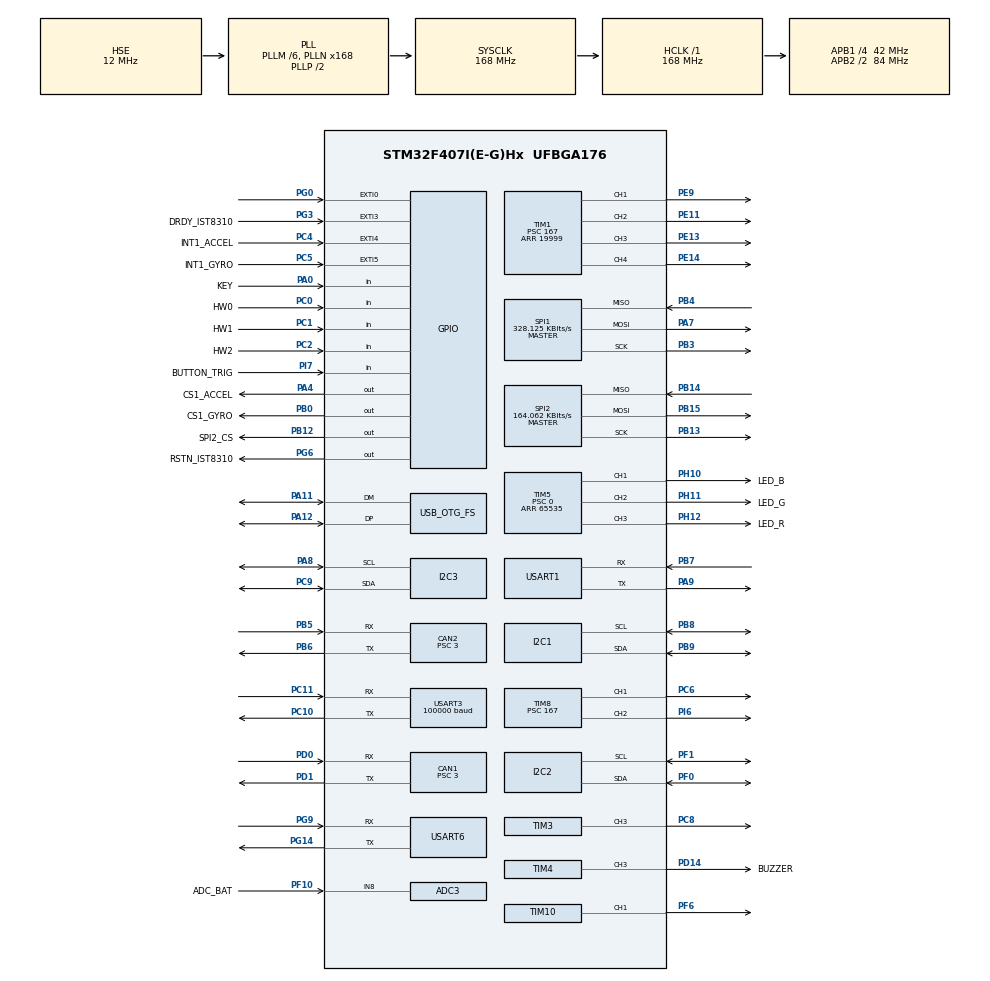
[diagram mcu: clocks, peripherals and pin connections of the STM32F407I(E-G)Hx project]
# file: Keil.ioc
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ADC1.Channel-0\#ChannelRegularConversion=ADC_CHANNEL_TEMPSENSOR
ADC1.ClockPrescaler=ADC_CLOCK_SYNC_PCLK_DIV6
ADC1.NbrOfConversionFlag=1
ADC1.Rank-0\#ChannelRegularConversion=1
ADC1.SamplingTime-0\#ChannelRegularConversion=ADC_SAMPLETIME_3CYCLES
ADC1.master=1
ADC3.Channel-0\#ChannelRegularConversion=ADC_CHANNEL_8
ADC3.ClockPrescaler=ADC_CLOCK_SYNC_PCLK_DIV6
ADC3.NbrOfConversionFlag=1
ADC3.Rank-0\#ChannelRegularConversion=1
ADC3.SamplingTime-0\#ChannelRegularConversion=ADC_SAMPLETIME_3CYCLES
CAN1.BS1=CAN_BS1_10TQ
CAN1.BS2=CAN_BS2_3TQ
CAN1.CalculateTimeQuantum=71.42857142857143
CAN1.Prescaler=3
CAN2.BS1=CAN_BS1_10TQ
CAN2.BS2=CAN_BS2_3TQ
CAN2.CalculateTimeQuantum=71.42857142857143
CAN2.Prescaler=3
Dma.I2C2_TX.2.Direction=DMA_MEMORY_TO_PERIPH
Dma.I2C2_TX.2.FIFOMode=DMA_FIFOMODE_DISABLE
Dma.I2C2_TX.2.Instance=DMA1_Stream7
Dma.I2C2_TX.2.MemDataAlignment=DMA_MDATAALIGN_BYTE
Dma.I2C2_TX.2.MemInc=DMA_MINC_ENABLE
Dma.I2C2_TX.2.Mode=DMA_NORMAL
Dma.I2C2_TX.2.PeriphDataAlignment=DMA_PDATAALIGN_BYTE
Dma.I2C2_TX.2.PeriphInc=DMA_PINC_DISABLE
Dma.I2C2_TX.2.Priority=DMA_PRIORITY_HIGH
Dma.Request0=SPI1_RX
Dma.Request1=SPI1_TX
Dma.Request2=I2C2_TX
Dma.Request3=USART3_RX
Dma.Request4=USART6_RX
Dma.Request5=USART6_TX
Dma.Request6=USART1_TX
Dma.Request7=USART1_RX
Dma.SPI1_RX.0.Direction=DMA_PERIPH_TO_MEMORY
Dma.SPI1_RX.0.FIFOMode=DMA_FIFOMODE_DISABLE
Dma.SPI1_RX.0.Instance=DMA2_Stream2
Dma.SPI1_RX.0.MemDataAlignment=DMA_MDATAALIGN_BYTE
Dma.SPI1_RX.0.MemInc=DMA_MINC_ENABLE
Dma.SPI1_RX.0.Mode=DMA_NORMAL
Dma.SPI1_RX.0.PeriphDataAlignment=DMA_PDATAALIGN_BYTE
Dma.SPI1_RX.0.PeriphInc=DMA_PINC_DISABLE
Dma.SPI1_RX.0.Priority=DMA_PRIORITY_VERY_HIGH
Dma.SPI1_TX.1.Direction=DMA_MEMORY_TO_PERIPH
Dma.SPI1_TX.1.FIFOMode=DMA_FIFOMODE_DISABLE
Dma.SPI1_TX.1.Instance=DMA2_Stream3
Dma.SPI1_TX.1.MemDataAlignment=DMA_MDATAALIGN_BYTE
Dma.SPI1_TX.1.MemInc=DMA_MINC_ENABLE
Dma.SPI1_TX.1.Mode=DMA_NORMAL
Dma.SPI1_TX.1.PeriphDataAlignment=DMA_PDATAALIGN_BYTE
Dma.SPI1_TX.1.PeriphInc=DMA_PINC_DISABLE
Dma.SPI1_TX.1.Priority=DMA_PRIORITY_HIGH
Dma.USART1_RX.7.Direction=DMA_PERIPH_TO_MEMORY
Dma.USART1_RX.7.FIFOMode=DMA_FIFOMODE_DISABLE
Dma.USART1_RX.7.Instance=DMA2_Stream5
Dma.USART1_RX.7.MemDataAlignment=DMA_MDATAALIGN_BYTE
Dma.USART1_RX.7.MemInc=DMA_MINC_ENABLE
Dma.USART1_RX.7.Mode=DMA_NORMAL
Dma.USART1_RX.7.PeriphDataAlignment=DMA_PDATAALIGN_BYTE
Dma.USART1_RX.7.PeriphInc=DMA_PINC_DISABLE
Dma.USART1_RX.7.Priority=DMA_PRIORITY_MEDIUM
Dma.USART1_TX.6.Direction=DMA_MEMORY_TO_PERIPH
Dma.USART1_TX.6.FIFOMode=DMA_FIFOMODE_DISABLE
Dma.USART1_TX.6.Instance=DMA2_Stream7
Dma.USART1_TX.6.MemDataAlignment=DMA_MDATAALIGN_BYTE
Dma.USART1_TX.6.MemInc=DMA_MINC_ENABLE
Dma.USART1_TX.6.Mode=DMA_NORMAL
Dma.USART1_TX.6.PeriphDataAlignment=DMA_PDATAALIGN_BYTE
Dma.USART1_TX.6.PeriphInc=DMA_PINC_DISABLE
Dma.USART1_TX.6.Priority=DMA_PRIORITY_MEDIUM
Dma.USART3_RX.3.Direction=DMA_PERIPH_TO_MEMORY
Dma.USART3_RX.3.FIFOMode=DMA_FIFOMODE_DISABLE
Dma.USART3_RX.3.Instance=DMA1_Stream1
Dma.USART3_RX.3.MemDataAlignment=DMA_MDATAALIGN_BYTE
Dma.USART3_RX.3.MemInc=DMA_MINC_ENABLE
Dma.USART3_RX.3.Mode=DMA_NORMAL
Dma.USART3_RX.3.PeriphDataAlignment=DMA_PDATAALIGN_BYTE
Dma.USART3_RX.3.PeriphInc=DMA_PINC_DISABLE
Dma.USART3_RX.3.Priority=DMA_PRIORITY_HIGH
Dma.USART6_RX.4.Direction=DMA_PERIPH_TO_MEMORY
Dma.USART6_RX.4.FIFOMode=DMA_FIFOMODE_DISABLE
Dma.USART6_RX.4.Instance=DMA2_Stream1
Dma.USART6_RX.4.MemDataAlignment=DMA_MDATAALIGN_BYTE
Dma.USART6_RX.4.MemInc=DMA_MINC_ENABLE
Dma.USART6_RX.4.Mode=DMA_NORMAL
Dma.USART6_RX.4.PeriphDataAlignment=DMA_PDATAALIGN_BYTE
Dma.USART6_RX.4.PeriphInc=DMA_PINC_DISABLE
Dma.USART6_RX.4.Priority=DMA_PRIORITY_HIGH
Dma.USART6_TX.5.Direction=DMA_MEMORY_TO_PERIPH
Dma.USART6_TX.5.FIFOMode=DMA_FIFOMODE_DISABLE
Dma.USART6_TX.5.Instance=DMA2_Stream6
Dma.USART6_TX.5.MemDataAlignment=DMA_MDATAALIGN_BYTE
Dma.USART6_TX.5.MemInc=DMA_MINC_ENABLE
Dma.USART6_TX.5.Mode=DMA_NORMAL
Dma.USART6_TX.5.PeriphDataAlignment=DMA_PDATAALIGN_BYTE
Dma.USART6_TX.5.PeriphInc=DMA_PINC_DISABLE
Dma.USART6_TX.5.Priority=DMA_PRIORITY_MEDIUM
FREERTOS.INCLUDE_eTaskGetState=1
FREERTOS.INCLUDE_pcTaskGetTaskName=1
FREERTOS.INCLUDE_uxTaskGetStackHighWaterMark=1
FREERTOS.INCLUDE_vTaskCleanUpResources=1
FREERTOS.INCLUDE_vTaskDelayUntil=1
FREERTOS.INCLUDE_xEventGroupSetBitFromISR=1
FREERTOS.INCLUDE_xQueueGetMutexHolder=1
FREERTOS.INCLUDE_xSemaphoreGetMutexHolder=1
FREERTOS.INCLUDE_xTaskAbortDelay=1
FREERTOS.INCLUDE_xTaskGetCurrentTaskHandle=1
FREERTOS.INCLUDE_xTaskGetHandle=1
FREERTOS.INCLUDE_xTimerPendFunctionCall=1
FREERTOS.Tasks01=test,24,128,test_task,As weak,NULL,Dynamic,NULL,NULL
FREERTOS.configTOTAL_HEAP_SIZE=24576
I2C1.I2C_Mode=I2C_Fast
I2C2.I2C_Mode=I2C_Fast
I2C3.I2C_Mode=I2C_Fast
Mcu.Family=STM32F4
Mcu.Name=STM32F407I(E-G)Hx
Mcu.Package=UFBGA176
NVIC.CAN1_RX0_IRQn=true\:6\:0\:true\:false\:true\:true\:true\:true
NVIC.CAN2_RX0_IRQn=true\:6\:0\:true\:false\:true\:true\:true\:true
NVIC.DMA1_Stream1_IRQn=true\:5\:0\:true\:false\:false\:true\:false\:false
NVIC.DMA1_Stream7_IRQn=true\:5\:0\:true\:false\:false\:true\:false\:true
NVIC.DMA2_Stream1_IRQn=true\:5\:0\:true\:false\:true\:true\:false\:true
NVIC.DMA2_Stream2_IRQn=true\:5\:0\:true\:false\:false\:true\:false\:true
NVIC.DMA2_Stream3_IRQn=true\:5\:0\:true\:false\:false\:true\:false\:true
NVIC.DMA2_Stream5_IRQn=true\:5\:0\:false\:false\:true\:true\:false\:true
NVIC.DMA2_Stream6_IRQn=true\:5\:0\:true\:false\:true\:true\:false\:true
NVIC.DMA2_Stream7_IRQn=true\:5\:0\:true\:false\:true\:true\:false\:true
NVIC.EXTI0_IRQn=true\:6\:0\:true\:false\:true\:true\:true\:true
NVIC.EXTI3_IRQn=true\:5\:0\:true\:false\:true\:true\:true\:true
NVIC.EXTI4_IRQn=true\:5\:0\:true\:false\:true\:true\:true\:true
NVIC.EXTI9_5_IRQn=true\:5\:0\:true\:false\:true\:true\:true\:true
NVIC.OTG_FS_IRQn=true\:5\:0\:false\:false\:true\:true\:false\:true
NVIC.PriorityGroup=NVIC_PRIORITYGROUP_4
NVIC.USART1_IRQn=true\:5\:0\:false\:false\:true\:true\:true\:true
NVIC.USART3_IRQn=true\:4\:0\:true\:false\:false\:false\:true\:true
NVIC.USART6_IRQn=true\:5\:0\:true\:false\:false\:true\:true\:true
PA0-WKUP.GPIO_Label=KEY
PA0-WKUP.GPIO_PuPd=GPIO_PULLUP
PA0-WKUP.Signal=GPIO_Input
PA11.Mode=Device_Only
PA11.Signal=USB_OTG_FS_DM
PA12.Mode=Device_Only
PA12.Signal=USB_OTG_FS_DP
PA13.Mode=Serial_Wire
PA13.Signal=SYS_JTMS-SWDIO
PA14.Mode=Serial_Wire
PA14.Signal=SYS_JTCK-SWCLK
PA4.GPIO_Label=CS1_ACCEL
PA4.GPIO_PuPd=GPIO_PULLUP
PA4.GPIO_Speed=GPIO_SPEED_FREQ_HIGH
PA4.PinState=GPIO_PIN_SET
PA4.Signal=GPIO_Output
PA7.GPIO_PuPd=GPIO_PULLUP
PA7.Mode=Full_Duplex_Master
PA7.Signal=SPI1_MOSI
PA8.Mode=I2C
PA8.Signal=I2C3_SCL
PA9.Mode=Asynchronous
PA9.Signal=USART1_TX
PB0.GPIO_Label=CS1_GYRO
PB0.GPIO_PuPd=GPIO_PULLUP
PB0.GPIO_Speed=GPIO_SPEED_FREQ_HIGH
PB0.PinState=GPIO_PIN_SET
PB0.Signal=GPIO_Output
PB12.GPIO_Label=SPI2_CS
PB12.GPIO_PuPd=GPIO_PULLUP
PB12.GPIO_Speed=GPIO_SPEED_FREQ_MEDIUM
PB12.PinState=GPIO_PIN_SET
PB12.Signal=GPIO_Output
PB13.GPIO_PuPd=GPIO_PULLUP
PB13.Mode=Full_Duplex_Master
PB13.Signal=SPI2_SCK
PB14.GPIO_PuPd=GPIO_PULLUP
PB14.Mode=Full_Duplex_Master
PB14.Signal=SPI2_MISO
PB15.GPIO_PuPd=GPIO_PULLUP
PB15.Mode=Full_Duplex_Master
PB15.Signal=SPI2_MOSI
PB3.GPIO_PuPd=GPIO_PULLUP
PB3.Mode=Full_Duplex_Master
PB3.Signal=SPI1_SCK
PB4.GPIO_PuPd=GPIO_PULLUP
PB4.Mode=Full_Duplex_Master
PB4.Signal=SPI1_MISO
PB5.Mode=Slave
PB5.Signal=CAN2_RX
PB6.Mode=Slave
PB6.Signal=CAN2_TX
PB7.Mode=Asynchronous
PB7.Signal=USART1_RX
PB8.Mode=I2C
PB8.Signal=I2C1_SCL
PB9.Mode=I2C
PB9.Signal=I2C1_SDA
PC0.GPIO_Label=HW0
PC0.Signal=GPIO_Input
PC1.GPIO_Label=HW1
PC1.Signal=GPIO_Input
PC10.Mode=Asynchronous
PC10.Signal=USART3_TX
PC11.Mode=Asynchronous
PC11.Signal=USART3_RX
PC2.GPIO_Label=HW2
PC2.Signal=GPIO_Input
PC4.GPIO_Label=INT1_ACCEL
PC4.GPIO_ModeDefaultEXTI=GPIO_MODE_IT_FALLING
PC4.GPIO_PuPd=GPIO_PULLUP
PC4.Signal=GPXTI4
PC5.GPIO_Label=INT1_GYRO
PC5.GPIO_ModeDefaultEXTI=GPIO_MODE_IT_FALLING
PC5.GPIO_PuPd=GPIO_PULLUP
PC5.Signal=GPXTI5
PC6.GPIO_PuPd=GPIO_PULLUP
PC6.GPIO_Speed=GPIO_SPEED_FREQ_HIGH
PC6.Signal=S_TIM8_CH1
PC8.GPIO_PuPd=GPIO_PULLUP
PC8.GPIO_Speed=GPIO_SPEED_FREQ_HIGH
PC8.Signal=S_TIM3_CH3
PC9.Mode=I2C
PC9.Signal=I2C3_SDA
PD0.Mode=Master
PD0.Signal=CAN1_RX
PD1.Mode=Master
PD1.Signal=CAN1_TX
PD14.GPIO_Label=BUZZER
PD14.GPIO_PuPd=GPIO_PULLUP
PD14.GPIO_Speed=GPIO_SPEED_FREQ_VERY_HIGH
PD14.Signal=S_TIM4_CH3
PE11.GPIO_PuPd=GPIO_PULLUP
PE11.GPIO_Speed=GPIO_SPEED_FREQ_HIGH
PE11.Signal=S_TIM1_CH2
PE13.GPIO_PuPd=GPIO_PULLUP
PE13.GPIO_Speed=GPIO_SPEED_FREQ_HIGH
PE13.Signal=S_TIM1_CH3
PE14.GPIO_PuPd=GPIO_PULLUP
PE14.GPIO_Speed=GPIO_SPEED_FREQ_HIGH
PE14.Signal=S_TIM1_CH4
PE9.GPIO_PuPd=GPIO_PULLUP
PE9.GPIO_Speed=GPIO_SPEED_FREQ_HIGH
PE9.Signal=S_TIM1_CH1
PF0.Mode=I2C
PF0.Signal=I2C2_SDA
PF1.Mode=I2C
PF1.Signal=I2C2_SCL
PF10.GPIO_Label=ADC_BAT
PF10.Mode=IN8
PF10.Signal=ADC3_IN8
PF6.GPIO_PuPd=GPIO_PULLUP
PF6.GPIO_Speed=GPIO_SPEED_FREQ_HIGH
PF6.Signal=S_TIM10_CH1
PG0.GPIO_ModeDefaultEXTI=GPIO_MODE_IT_FALLING
PG0.GPIO_PuPd=GPIO_PULLUP
PG0.Signal=GPXTI0
PG14.Mode=Asynchronous
PG14.Signal=USART6_TX
PG3.GPIO_Label=DRDY_IST8310
PG3.GPIO_ModeDefaultEXTI=GPIO_MODE_IT_FALLING
PG3.GPIO_PuPd=GPIO_PULLUP
PG3.Signal=GPXTI3
PG6.GPIO_Label=RSTN_IST8310
PG6.GPIO_PuPd=GPIO_PULLUP
PG6.GPIO_Speed=GPIO_SPEED_FREQ_MEDIUM
PG6.PinState=GPIO_PIN_SET
PG6.Signal=GPIO_Output
PG9.Mode=Asynchronous
PG9.Signal=USART6_RX
PH0-OSC_IN.Mode=HSE-External-Oscillator
PH0-OSC_IN.Signal=RCC_OSC_IN
PH1-OSC_OUT.Mode=HSE-External-Oscillator
PH1-OSC_OUT.Signal=RCC_OSC_OUT
PH10.GPIO_Label=LED_B
PH10.GPIO_PuPd=GPIO_PULLUP
PH10.GPIO_Speed=GPIO_SPEED_FREQ_HIGH
PH10.Signal=S_TIM5_CH1
PH11.GPIO_Label=LED_G
PH11.GPIO_PuPd=GPIO_PULLUP
PH11.GPIO_Speed=GPIO_SPEED_FREQ_HIGH
PH11.Signal=S_TIM5_CH2
PH12.GPIO_Label=LED_R
PH12.GPIO_PuPd=GPIO_PULLUP
PH12.GPIO_Speed=GPIO_SPEED_FREQ_HIGH
PH12.Signal=S_TIM5_CH3
PI6.GPIO_PuPd=GPIO_PULLUP
PI6.GPIO_Speed=GPIO_SPEED_FREQ_HIGH
PI6.Signal=S_TIM8_CH2
PI7.GPIO_Label=BUTTON_TRIG
PI7.GPIO_PuPd=GPIO_PULLUP
PI7.Signal=GPIO_Input
ProjectManager.HeapSize=0x2000
ProjectManager.StackSize=0x2000
ProjectManager.TargetToolchain=MDK-ARM V5
RCC.48MHZClocksFreq_Value=48000000
RCC.AHBFreq_Value=168000000
RCC.APB1CLKDivider=RCC_HCLK_DIV4
RCC.APB1Freq_Value=42000000
RCC.APB1TimFreq_Value=84000000
RCC.APB2CLKDivider=RCC_HCLK_DIV2
RCC.APB2Freq_Value=84000000
RCC.APB2TimFreq_Value=168000000
RCC.CortexFreq_Value=168000000
RCC.HCLKFreq_Value=168000000
RCC.HSE_VALUE=12000000
RCC.HSI_VALUE=16000000
RCC.LSE_VALUE=32768
RCC.PLLM=6
RCC.PLLN=168
RCC.PLLQ=7
RCC.RCC_RTC_Clock_SourceVirtual=RCC_RTCCLKSOURCE_HSE_DIV30
RCC.RCC_RTC_Clock_Source_FROM_HSE=RCC_RTCCLKSOURCE_HSE_DIV30
RCC.SYSCLKFreq_VALUE=168000000
RCC.SYSCLKSource=RCC_SYSCLKSOURCE_PLLCLK
RCC.VCOOutputFreq_Value=336000000
RTC.AsynchPrediv=124
RTC.SynchPrediv=3199
SH.S_TIM10_CH1.0=TIM10_CH1,PWM Generation1 CH1
SH.S_TIM1_CH1.0=TIM1_CH1,PWM Generation1 CH1
SH.S_TIM1_CH2.0=TIM1_CH2,PWM Generation2 CH2
SH.S_TIM1_CH3.0=TIM1_CH3,PWM Generation3 CH3
SH.S_TIM1_CH4.0=TIM1_CH4,PWM Generation4 CH4
SH.S_TIM3_CH3.0=TIM3_CH3,PWM Generation3 CH3
SH.S_TIM4_CH3.0=TIM4_CH3,PWM Generation3 CH3
SH.S_TIM5_CH1.0=TIM5_CH1,PWM Generation1 CH1
SH.S_TIM5_CH2.0=TIM5_CH2,PWM Generation2 CH2
SH.S_TIM5_CH3.0=TIM5_CH3,PWM Generation3 CH3
SH.S_TIM8_CH1.0=TIM8_CH1,PWM Generation1 CH1
SH.S_TIM8_CH2.0=TIM8_CH2,PWM Generation2 CH2
SPI1.BaudRatePrescaler=SPI_BAUDRATEPRESCALER_256
SPI1.CLKPhase=SPI_PHASE_2EDGE
SPI1.CLKPolarity=SPI_POLARITY_HIGH
SPI1.CalculateBaudRate=328.125 KBits/s
SPI1.Direction=SPI_DIRECTION_2LINES
SPI1.Mode=SPI_MODE_MASTER
SPI1.VirtualType=VM_MASTER
SPI2.BaudRatePrescaler=SPI_BAUDRATEPRESCALER_256
SPI2.CLKPhase=SPI_PHASE_2EDGE
SPI2.CLKPolarity=SPI_POLARITY_HIGH
SPI2.CalculateBaudRate=164.062 KBits/s
SPI2.Direction=SPI_DIRECTION_2LINES
SPI2.Mode=SPI_MODE_MASTER
SPI2.VirtualType=VM_MASTER
TIM1.AutoReloadPreload=TIM_AUTORELOAD_PRELOAD_ENABLE
TIM1.Channel-PWM\ Generation1\ CH1=TIM_CHANNEL_1
TIM1.Channel-PWM\ Generation2\ CH2=TIM_CHANNEL_2
TIM1.Channel-PWM\ Generation3\ CH3=TIM_CHANNEL_3
TIM1.Channel-PWM\ Generation4\ CH4=TIM_CHANNEL_4
TIM1.Period=19999
TIM1.Prescaler=167
TIM1.Pulse-PWM\ Generation1\ CH1=1000
TIM1.Pulse-PWM\ Generation2\ CH2=1000
TIM1.Pulse-PWM\ Generation3\ CH3=1000
TIM1.Pulse-PWM\ Generation4\ CH4=1000
TIM10.Channel=TIM_CHANNEL_1
TIM10.Period=4999
TIM3.Channel-PWM\ Generation3\ CH3=TIM_CHANNEL_3
TIM3.Period=8399
TIM4.Channel-PWM\ Generation3\ CH3=TIM_CHANNEL_3
TIM4.Period=65535
TIM4.Prescaler=167
TIM5.Channel-PWM\ Generation1\ CH1=TIM_CHANNEL_1
TIM5.Channel-PWM\ Generation2\ CH2=TIM_CHANNEL_2
TIM5.Channel-PWM\ Generation3\ CH3=TIM_CHANNEL_3
TIM5.Period=65535
TIM5.Prescaler=0
TIM8.Channel-PWM\ Generation1\ CH1=TIM_CHANNEL_1
TIM8.Channel-PWM\ Generation2\ CH2=TIM_CHANNEL_2
TIM8.Period=19999
TIM8.Prescaler=167
TIM8.Pulse-PWM\ Generation1\ CH1=1000
TIM8.Pulse-PWM\ Generation2\ CH2=1000
USART1.VirtualMode=VM_ASYNC
USART3.BaudRate=100000
USART3.Parity=PARITY_EVEN
USART3.VirtualMode=VM_ASYNC
USART6.VirtualMode=VM_ASYNC
USB_DEVICE.CLASS_NAME_FS=CDC
USB_DEVICE.VirtualMode-CDC_FS=Cdc
USB_DEVICE.VirtualModeFS=Cdc_FS
USB_OTG_FS.VirtualMode=Device_Only
VP_ADC1_TempSens_Input.Mode=IN-TempSens
VP_ADC1_Vref_Input.Mode=IN-Vrefint
VP_CRC_VS_CRC.Mode=CRC_Activate
VP_FREERTOS_VS_CMSIS_V1.Mode=CMSIS_V1
VP_RNG_VS_RNG.Mode=RNG_Activate
VP_RTC_VS_RTC_Activate.Mode=RTC_Enabled
VP_TIM10_VS_ClockSourceINT.Mode=Enable_Timer
VP_TIM1_VS_ClockSourceINT.Mode=Internal
VP_TIM3_VS_ClockSourceINT.Mode=Internal
VP_TIM4_VS_ClockSourceINT.Mode=Internal
VP_TIM5_VS_ClockSourceINT.Mode=Internal
VP_TIM8_VS_ClockSourceINT.Mode=Internal
VP_USB_DEVICE_VS_USB_DEVICE_CDC_FS.Mode=CDC_FS
board=custom

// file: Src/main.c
/* USER CODE BEGIN Header */
/**
  ******************************************************************************
  * @file           : main.c
  * @brief          : Main program body
  ******************************************************************************
  * @attention
  *
  * <h2><center>&copy; Copyright (c) 2019 STMicroelectronics.
  * All rights reserved.</center></h2>
  *
  * This software component is licensed by ST under Ultimate Liberty license
  * SLA0044, the "License"; You may not use this file except in compliance with
  * the License. You may obtain a copy of the License at:
  *                             www.st.com/SLA0044
  *
  ******************************************************************************
  */
/* USER CODE END Header */

#include "main.h"
#include "cmsis_os.h"
#include "adc.h"
#include "can.h"
#include "crc.h"
#include "dma.h"
#include "i2c.h"
#include "rng.h"
#include "rtc.h"
#include "spi.h"
#include "tim.h"
#include "usart.h"
#include "usb_device.h"
#include "gpio.h"

/* USER CODE BEGIN Includes */
#include "bsp_can.h"
#include "bsp_delay.h"
#include "bsp_usart.h"
#include "remote_control.h"

#include "calibrate_task.h"
#include "chassis_task.h"
#include "detect_task.h"
#include "gimbal_task.h"
#include "IMU_task.h"
#include "led_flow_task.h"
#include "oled_task.h"
#include "referee_usart_task.h"
#include "usb_task.h"
#include "voltage_task.h"
/* USER CODE END Includes */

void SystemClock_Config(void);
void MX_FREERTOS_Init(void);

int main(void)
{

  /* MCU Configuration--------------------------------------------------------*/

  /* Reset of all peripherals, Initializes the Flash interface and the Systick. */
   HAL_Init();

  /* Configure the system clock */
  SystemClock_Config();

  /* Initialize all configured peripherals */
  MX_GPIO_Init();
  MX_DMA_Init();
  MX_ADC1_Init();
  MX_ADC3_Init();
  MX_CAN1_Init();
  MX_CAN2_Init();
  MX_I2C1_Init();
  MX_SPI1_Init();
  MX_TIM4_Init();
  MX_TIM5_Init();
  MX_USART3_UART_Init();
  MX_TIM8_Init();
  MX_CRC_Init();
  MX_RNG_Init();
  MX_I2C2_Init();
  MX_I2C3_Init();
  MX_RTC_Init();
  MX_SPI2_Init();
  MX_TIM1_Init();
  MX_TIM3_Init();
  MX_TIM10_Init();
  MX_USART1_UART_Init();
  MX_USART6_UART_Init();
  /* USER CODE BEGIN 2 */
    can_filter_init();
    delay_init();
    cali_param_init();
    remote_control_init();
    usart1_tx_dma_init();
  /* USER CODE END 2 */

  /* Call init function for freertos objects (in freertos.c) */
  MX_FREERTOS_Init();

  /* Start scheduler */
  osKernelStart();

  /* We should never get here as control is now taken by the scheduler */

  /* Infinite loop */
  while (1)
  {

  }
}

void SystemClock_Config(void)
{
  RCC_OscInitTypeDef RCC_OscInitStruct = {0};
  RCC_ClkInitTypeDef RCC_ClkInitStruct = {0};
  RCC_PeriphCLKInitTypeDef PeriphClkInitStruct = {0};

  /** Configure the main internal regulator output voltage
  */
  __HAL_RCC_PWR_CLK_ENABLE();
  __HAL_PWR_VOLTAGESCALING_CONFIG(PWR_REGULATOR_VOLTAGE_SCALE1);
  /** Initializes the CPU, AHB and APB busses clocks
  */
  RCC_OscInitStruct.OscillatorType = RCC_OSCILLATORTYPE_HSE;
  RCC_OscInitStruct.HSEState = RCC_HSE_ON;
  RCC_OscInitStruct.PLL.PLLState = RCC_PLL_ON;
  RCC_OscInitStruct.PLL.PLLSource = RCC_PLLSOURCE_HSE;
  RCC_OscInitStruct.PLL.PLLM = 6;
  RCC_OscInitStruct.PLL.PLLN = 168;
  RCC_OscInitStruct.PLL.PLLP = RCC_PLLP_DIV2;
  RCC_OscInitStruct.PLL.PLLQ = 7;
  if (HAL_RCC_OscConfig(&RCC_OscInitStruct) != HAL_OK)
  {
    Error_Handler();
  }
  /** Initializes the CPU, AHB and APB busses clocks
  */
  RCC_ClkInitStruct.ClockType = RCC_CLOCKTYPE_HCLK|RCC_CLOCKTYPE_SYSCLK
                              |RCC_CLOCKTYPE_PCLK1|RCC_CLOCKTYPE_PCLK2;
  RCC_ClkInitStruct.SYSCLKSource = RCC_SYSCLKSOURCE_PLLCLK;
  RCC_ClkInitStruct.AHBCLKDivider = RCC_SYSCLK_DIV1;
  RCC_ClkInitStruct.APB1CLKDivider = RCC_HCLK_DIV4;
  RCC_ClkInitStruct.APB2CLKDivider = RCC_HCLK_DIV2;

  if (HAL_RCC_ClockConfig(&RCC_ClkInitStruct, FLASH_LATENCY_5) != HAL_OK)
  {
    Error_Handler();
  }
  PeriphClkInitStruct.PeriphClockSelection = RCC_PERIPHCLK_RTC;
  PeriphClkInitStruct.RTCClockSelection = RCC_RTCCLKSOURCE_HSE_DIV30;
  if (HAL_RCCEx_PeriphCLKConfig(&PeriphClkInitStruct) != HAL_OK)
  {
    Error_Handler();
  }
}

void Error_Handler(void)
{
}

/************************ (C) COPYRIGHT STMicroelectronics *****END OF FILE****/

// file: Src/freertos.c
/* USER CODE BEGIN Header */
/**
  ******************************************************************************
  * File Name          : freertos.c
  * Description        : Code for freertos applications
  ******************************************************************************
  * @attention
  *
  * <h2><center>&copy; Copyright (c) 2019 STMicroelectronics.
  * All rights reserved.</center></h2>
  *
  * This software component is licensed by ST under Ultimate Liberty license
  * SLA0044, the "License"; You may not use this file except in compliance with
  * the License. You may obtain a copy of the License at:
  *                             www.st.com/SLA0044
  *
  ******************************************************************************
  */
/* USER CODE END Header */

#include "FreeRTOS.h"
#include "task.h"
#include "main.h"
#include "cmsis_os.h"
#include "robot_param.h"

/* USER CODE BEGIN Includes */

#include "detect_task.h"
#include "IMU_task.h"
#include "led_flow_task.h"
#include "oled_task.h"
#include "referee_usart_task.h"
#include "usb_task.h"
#include "voltage_task.h"
#include "custom_controller_task.h"
#include "communication_task.h"

/* USER CODE END Includes */

/* USER CODE BEGIN PTD */

osThreadId detect_handle;

osThreadId communication_handle;

#if (CUSTOM_CONTROLLER_TYPE != CUSTOM_CONTROLLER_NONE)
osThreadId customControllerTaskHandle;
#endif

osThreadId imuTaskHandle;

osThreadId led_RGB_flow_handle;

osThreadId oled_handle;

osThreadId referee_usart_task_handle;

osThreadId usb_task_handle;

osThreadId battery_voltage_handle;

/* USER CODE END PTD */

osThreadId testHandle;

void test_task(void const * argument);

extern void MX_USB_DEVICE_Init(void);
void MX_FREERTOS_Init(void); /* (MISRA C 2004 rule 8.1) */

/* GetIdleTaskMemory prototype (linked to static allocation support) */
void vApplicationGetIdleTaskMemory( StaticTask_t **ppxIdleTaskTCBBuffer, StackType_t **ppxIdleTaskStackBuffer, uint32_t *pulIdleTaskStackSize );

/* GetTimerTaskMemory prototype (linked to static allocation support) */
void vApplicationGetTimerTaskMemory( StaticTask_t **ppxTimerTaskTCBBuffer, StackType_t **ppxTimerTaskStackBuffer, uint32_t *pulTimerTaskStackSize );

/* USER CODE BEGIN GET_IDLE_TASK_MEMORY */
static StaticTask_t xIdleTaskTCBBuffer;
static StackType_t xIdleStack[configMINIMAL_STACK_SIZE];

void vApplicationGetIdleTaskMemory( StaticTask_t **ppxIdleTaskTCBBuffer, StackType_t **ppxIdleTaskStackBuffer, uint32_t *pulIdleTaskStackSize )
{
  *ppxIdleTaskTCBBuffer = &xIdleTaskTCBBuffer;
  *ppxIdleTaskStackBuffer = &xIdleStack[0];
  *pulIdleTaskStackSize = configMINIMAL_STACK_SIZE;
  /* place for user code */
}
/* USER CODE END GET_IDLE_TASK_MEMORY */

/* USER CODE BEGIN GET_TIMER_TASK_MEMORY */
static StaticTask_t xTimerTaskTCBBuffer;
static StackType_t xTimerStack[configTIMER_TASK_STACK_DEPTH];

void vApplicationGetTimerTaskMemory( StaticTask_t **ppxTimerTaskTCBBuffer, StackType_t **ppxTimerTaskStackBuffer, uint32_t *pulTimerTaskStackSize )
{
  *ppxTimerTaskTCBBuffer = &xTimerTaskTCBBuffer;
  *ppxTimerTaskStackBuffer = &xTimerStack[0];
  *pulTimerTaskStackSize = configTIMER_TASK_STACK_DEPTH;
  /* place for user code */
}
/* USER CODE END GET_TIMER_TASK_MEMORY */

void MX_FREERTOS_Init(void) {

  /* Create the thread(s) */
  /* definition and creation of test */
  osThreadDef(test, test_task, osPriorityNormal, 0, 128);
  testHandle = osThreadCreate(osThread(test), NULL);

  /* USER CODE BEGIN RTOS_THREADS */
  /* add threads, ... */
    osThreadDef(DETECT, detect_task, osPriorityNormal, 0, 256);
    detect_handle = osThreadCreate(osThread(DETECT), NULL);

    osThreadDef(COMMUNICATION, communication_task, osPriorityNormal, 0, 256);
    communication_handle = osThreadCreate(osThread(COMMUNICATION), NULL);

#if (CUSTOM_CONTROLLER_TYPE != CUSTOM_CONTROLLER_NONE)
    osThreadDef(customControllerTask, custom_controller_task, osPriorityHigh, 0, 512);
    customControllerTaskHandle = osThreadCreate(osThread(customControllerTask), NULL);
#endif

    osThreadDef(imuTask, IMU_task, osPriorityRealtime, 0, 1024);
    imuTaskHandle = osThreadCreate(osThread(imuTask), NULL);

    osThreadDef(led, led_RGB_flow_task, osPriorityNormal, 0, 256);
    led_RGB_flow_handle = osThreadCreate(osThread(led), NULL);

    osThreadDef(OLED, oled_task, osPriorityLow, 0, 256);
    oled_handle = osThreadCreate(osThread(OLED), NULL);

    osThreadDef(REFEREE, referee_usart_task, osPriorityNormal, 0, 128);
    referee_usart_task_handle = osThreadCreate(osThread(REFEREE), NULL);

    osThreadDef(USB_Task, usb_task, osPriorityNormal, 0, 128);
    usb_task_handle = osThreadCreate(osThread(USB_Task), NULL);

    osThreadDef(BATTERY_VOLTAGE, battery_voltage_task, osPriorityNormal, 0, 128);
    battery_voltage_handle = osThreadCreate(osThread(BATTERY_VOLTAGE), NULL);

  /* USER CODE END RTOS_THREADS */

}

__weak void test_task(void const * argument)
{
  /* init code for USB_DEVICE */
  MX_USB_DEVICE_Init();

  for(;;)
  {
    osDelay(1);
  }
}

/************************ (C) COPYRIGHT STMicroelectronics *****END OF FILE****/
